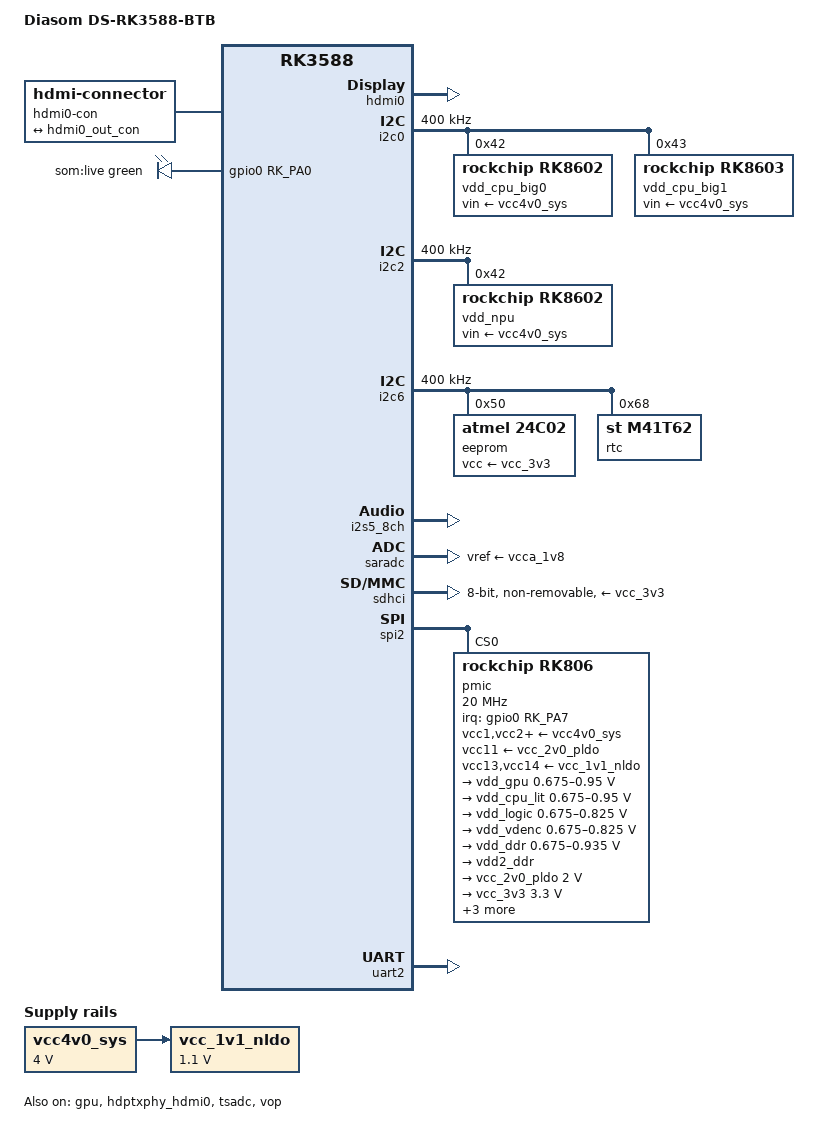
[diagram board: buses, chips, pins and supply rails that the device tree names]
/* SPDX-License-Identifier: GPL-2.0+ */
/* SPDX-FileCopyrightText: Alexander Shiyan <shc_work@mail.ru> */

/dts-v1/;

#include <arm64/rockchip/rk3588j.dtsi>
#include <dt-bindings/gpio/gpio.h>
#include <dt-bindings/leds/common.h>

#include "rk3588.dtsi"

/ {
	model = "Diasom DS-RK3588-BTB";
	compatible = "diasom,ds-rk3588-btb",
		     "rockchip,rk3588";
	chassis-type = "embedded";

	chosen: chosen {
		stdout-path = "serial2:1500000n8";

		environment-emmc {
			compatible = "barebox,environment";
			device-path = &sdhci, "partname:env";
			status = "disabled";
		};
	};

	aliases {
		mmc0 = &sdhci;
	};

	hdmi0-con {
		/* RK628 */
		compatible = "hdmi-connector";
		type = "a";

		port {
			hdmi0_con_in: endpoint {
				remote-endpoint = <&hdmi0_out_con>;
			};
		};
	};

	/* 6.14+ */
	hdptxphy1_grf: syscon@fd5e4000 {
		compatible = "rockchip,rk3588-hdptxphy-grf", "syscon";
		reg = <0x0 0xfd5e4000 0x0 0x100>;
	};

	/* 6.14+ */
	hdptxphy1: phy@fed70000 {
		compatible = "rockchip,rk3588-hdptx-phy";
		reg = <0x0 0xfed70000 0x0 0x2000>;
		clocks = <&cru CLK_USB2PHY_HDPTXRXPHY_REF>, <&cru PCLK_HDPTX1>;
		clock-names = "ref", "apb";
		#phy-cells = <0>;
		resets = <&cru SRST_HDPTX1>, <&cru SRST_P_HDPTX1>,
			 <&cru SRST_HDPTX1_INIT>, <&cru SRST_HDPTX1_CMN>,
			 <&cru SRST_HDPTX1_LANE>, <&cru SRST_HDPTX1_ROPLL>,
			 <&cru SRST_HDPTX1_LCPLL>;
		reset-names = "phy", "apb", "init", "cmn", "lane", "ropll",
			      "lcpll";
		rockchip,grf = <&hdptxphy1_grf>;
		status = "disabled";
	};

	/* 6.14+ */
	hdmi1: hdmi@fdea0000 {
		compatible = "rockchip,rk3588-dw-hdmi-qp";
		reg = <0x0 0xfdea0000 0x0 0x20000>;
		clocks = <&cru PCLK_HDMITX1>,
			 <&cru CLK_HDMITX1_EARC>,
			 <&cru CLK_HDMITX1_REF>,
			 <&cru MCLK_I2S6_8CH_TX>,
			 <&cru CLK_HDMIHDP1>,
			 <&cru HCLK_VO1>;
		clock-names = "pclk", "earc", "ref", "aud", "hdp", "hclk_vo1";
		interrupts = <GIC_SPI 173 IRQ_TYPE_LEVEL_HIGH 0>,
			     <GIC_SPI 174 IRQ_TYPE_LEVEL_HIGH 0>,
			     <GIC_SPI 175 IRQ_TYPE_LEVEL_HIGH 0>,
			     <GIC_SPI 176 IRQ_TYPE_LEVEL_HIGH 0>,
			     <GIC_SPI 361 IRQ_TYPE_LEVEL_HIGH 0>;
		interrupt-names = "avp", "cec", "earc", "main", "hpd";
		phys = <&hdptxphy1>;
		pinctrl-names = "default";
		pinctrl-0 = <&hdmim2_tx1_cec &hdmim0_tx1_hpd
			     &hdmim1_tx1_scl &hdmim1_tx1_sda>;
		power-domains = <&power RK3588_PD_VO1>;
		resets = <&cru SRST_HDMITX1_REF>, <&cru SRST_HDMIHDP1>;
		reset-names = "ref", "hdp";
		rockchip,grf = <&sys_grf>;
		rockchip,vo-grf = <&vo1_grf>;
		status = "disabled";

		ports {
			#address-cells = <1>;
			#size-cells = <0>;

			hdmi1_in: port@0 {
				reg = <0>;
			};

			hdmi1_out: port@1 {
				reg = <1>;
			};
		};
	};

	leds: leds {
		compatible = "gpio-leds";
		pinctrl-names = "default";
		pinctrl-0 = <&leds_som_pins>;

		led-live {
			label = "som:live";
			gpios = <&gpio0 RK_PA0 GPIO_ACTIVE_HIGH>;
			function = LED_FUNCTION_HEARTBEAT;
			color = <LED_COLOR_ID_GREEN>;
			linux,default-trigger = LED_FUNCTION_HEARTBEAT;
			default-state = "off";
			panic-indicator;
		};
	};

	/* BTB crashed with DABT at 0x3fc000200 & 0x3fff00000 */
	reserved-memory {
		#address-cells = <2>;
		#size-cells = <2>;
		ranges;

		broken@3fc000000 {
			reg = <0x3 0xfc000000 0x0 0x500000>;
			no-map;
		};

		broken@3fff00000 {
			reg = <0x3 0xfff00000 0x0 0x100000>;
			no-map;
		};
	};

	vcc_1v1_nldo: vcc1v1-nldo-regulator {
		compatible = "regulator-fixed";
		regulator-name = "vcc_1v1_nldo";
		regulator-always-on;
		regulator-boot-on;
		regulator-min-microvolt = <1100000>;
		regulator-max-microvolt = <1100000>;
		vin-supply = <&vcc4v0_sys>;
	};

	vcc4v0_sys: vcc4v0-sys-regulator {
		compatible = "regulator-fixed";
		regulator-name = "4v0_sys";
		regulator-always-on;
		regulator-boot-on;
		regulator-min-microvolt = <4000000>;
		regulator-max-microvolt = <4000000>;
	};
};

/delete-node/ &xin32k;

&cpu_b0 {
	cpu-supply = <&vdd_cpu_big0>;
};

&cpu_b1 {
	cpu-supply = <&vdd_cpu_big0>;
};

&cpu_b2 {
	cpu-supply = <&vdd_cpu_big1>;
};

&cpu_b3 {
	cpu-supply = <&vdd_cpu_big1>;
};

&cpu_l0 {
	cpu-supply = <&vdd_cpu_lit>;
};

&cpu_l1 {
	cpu-supply = <&vdd_cpu_lit>;
};

&cpu_l2 {
	cpu-supply = <&vdd_cpu_lit>;
};

&cpu_l3 {
	cpu-supply = <&vdd_cpu_lit>;
};

&gpu {
	mali-supply = <&vdd_gpu>;
	sram-supply = <&vdd_gpu>;
};

&gpu {
	status = "okay";
};

&hdmi0 {
	/* CEC is not used here */
	pinctrl-0 = <&hdmim0_tx0_hpd &hdmim0_tx0_scl &hdmim0_tx0_sda>;
	status = "okay";
};

&hdmi0_in {
	hdmi0_in_vp0: endpoint {
		remote-endpoint = <&vp0_out_hdmi0>;
	};
};

&hdmi0_out {
	hdmi0_out_con: endpoint {
		remote-endpoint = <&hdmi0_con_in>;
	};
};

&hdptxphy_hdmi0 {
	status = "okay";
};

&i2c0 {
	pinctrl-0 = <&i2c0m2_xfer>;
	clock-frequency = <400000>;
	status = "okay";

	vdd_cpu_big0: regulator@42 {
		compatible = "rockchip,rk8602";
		reg = <0x42>;
		fcs,suspend-voltage-selector = <1>;
		regulator-name = "vdd_cpu_big0";
		regulator-boot-on;
		regulator-min-microvolt = <675000>;
		regulator-max-microvolt = <1050000>;
		regulator-ramp-delay = <2300>;
		vin-supply = <&vcc4v0_sys>;

		regulator-state-mem {
			regulator-off-in-suspend;
		};
	};

	vdd_cpu_big1: regulator@43 {
		compatible = "rockchip,rk8603", "rockchip,rk8602";
		reg = <0x43>;
		fcs,suspend-voltage-selector = <1>;
		regulator-name = "vdd_cpu_big1";
		regulator-boot-on;
		regulator-min-microvolt = <675000>;
		regulator-max-microvolt = <1050000>;
		regulator-ramp-delay = <2300>;
		vin-supply = <&vcc4v0_sys>;

		regulator-state-mem {
			regulator-off-in-suspend;
		};
	};
};

&i2c2 {
	clock-frequency = <400000>;
	status = "okay";

	vdd_npu: regulator@42 {
		compatible = "rockchip,rk8602";
		reg = <0x42>;
		fcs,suspend-voltage-selector = <1>;
		regulator-name = "vdd_npu";
		regulator-min-microvolt = <675000>;
		regulator-max-microvolt = <950000>;
		regulator-ramp-delay = <2300>;
		vin-supply = <&vcc4v0_sys>;

		regulator-state-mem {
			regulator-off-in-suspend;
		};
	};
};

&i2c6 {
	clock-frequency = <400000>;
	status = "okay";

	/* 24aa02e48 */
	eeprom@50 {
		compatible = "atmel,24c02";
		reg = <0x50>;
		pagesize = <8>;
		vcc-supply = <&vcc_3v3>;
		#address-cells = <1>;
		#size-cells = <1>;

		mac0: mac-address@fa {
			reg = <0xfa 0x06>;
			read-only;
		};
	};

	brg: hdmi@51 {
		pinctrl-names = "default";
		pinctrl-0 = <&brg_pins>;
		compatible = "rockchip,rk628";
		reg = <0x51>;
		enable-gpios = <&gpio0 RK_PB0 GPIO_ACTIVE_HIGH>;
		rk628-hdmi-in;
		status = "disabled";
	};

	rtc@68 {
		pinctrl-names = "default";
		pinctrl-0 = <&clk32k_in>;
		/* Disable interrupt due cross with sdmmc_det on EVB */
//		pinctrl-0 = <&clk32k_in &rtc_pins>;
		compatible = "st,m41t62";
		reg = <0x68>;
//		interrupt-parent = <&gpio0>;
//		interrupts = <RK_PA4 IRQ_TYPE_LEVEL_LOW>;
//		wakeup-source;

		clock {
			compatible = "fixed-clock";
			clock-accuracy = <2000>;
			clock-frequency = <32768>;
			clock-output-names = "xin32k";
			#clock-cells = <0>;
		};
	};
};

&i2s5_8ch {
	/* HDMI0 Sound */
	status = "okay";
};

&saradc {
	vref-supply = <&vcca_1v8>;
	status = "okay";
};

&sdhci {
	bus-width = <8>;
	cap-mmc-hw-reset;
	mmc-hs400-1_8v;
	mmc-hs400-enhanced-strobe;
	non-removable;
	no-sd;
	no-sdio;
	vmmc-supply = <&vcc_3v3>;
	vqmmc-supply = <&vcc_1v8>;
	status = "okay";
};

&spi2 {
	assigned-clocks = <&cru CLK_SPI2>;
	assigned-clock-rates = <200000000>;
	pinctrl-0 = <&spi2m2_cs0 &spi2m2_pins>;
	num-cs = <1>;
	status = "okay";

	pmic@0 {
		compatible = "rockchip,rk806";
		reg = <0x0>;
		interrupt-parent = <&gpio0>;
		interrupts = <RK_PA7 IRQ_TYPE_LEVEL_LOW>;
		pinctrl-names = "default";
		pinctrl-0 = <&pmic_pins &rk806_dvs1_null
			     &rk806_dvs2_null &rk806_dvs3_null>;
		spi-max-frequency = <20000000>;
		system-power-controller;

		vcc1-supply = <&vcc4v0_sys>;
		vcc2-supply = <&vcc4v0_sys>;
		vcc3-supply = <&vcc4v0_sys>;
		vcc4-supply = <&vcc4v0_sys>;
		vcc5-supply = <&vcc4v0_sys>;
		vcc6-supply = <&vcc4v0_sys>;
		vcc7-supply = <&vcc4v0_sys>;
		vcc8-supply = <&vcc4v0_sys>;
		vcc9-supply = <&vcc4v0_sys>;
		vcc10-supply = <&vcc4v0_sys>;
		vcc11-supply = <&vcc_2v0_pldo>;
		vcc12-supply = <&vcc4v0_sys>;
		vcc13-supply = <&vcc_1v1_nldo>;
		vcc14-supply = <&vcc_1v1_nldo>;
		vcca-supply = <&vcc4v0_sys>;

		gpio-controller;
		#gpio-cells = <2>;

		rk806_dvs1_null: dvs1-null-pins {
			pins = "gpio_pwrctrl1";
			function = "pin_fun0";
		};

		rk806_dvs2_null: dvs2-null-pins {
			pins = "gpio_pwrctrl2";
			function = "pin_fun0";
		};

		rk806_dvs3_null: dvs3-null-pins {
			pins = "gpio_pwrctrl3";
			function = "pin_fun0";
		};

		regulators {
			vdd_gpu: dcdc-reg1 {
				regulator-name = "vdd_gpu";
				regulator-min-microvolt = <675000>;
				regulator-max-microvolt = <950000>;
				regulator-enable-ramp-delay = <400>;
				regulator-ramp-delay = <12500>;

				regulator-state-mem {
					regulator-off-in-suspend;
				};
			};

			vdd_cpu_lit: dcdc-reg2 {
				regulator-name = "vdd_cpu_lit";
				regulator-min-microvolt = <675000>;
				regulator-max-microvolt = <950000>;
				regulator-ramp-delay = <12500>;

				regulator-state-mem {
					regulator-off-in-suspend;
				};
			};

			dcdc-reg3 {
				regulator-name = "vdd_logic";
				regulator-always-on;
				regulator-boot-on;
				regulator-min-microvolt = <675000>;
				regulator-max-microvolt = <825000>;
				regulator-ramp-delay = <12500>;

				regulator-state-mem {
					regulator-off-in-suspend;
					regulator-suspend-microvolt = <750000>;
				};
			};

			dcdc-reg4 {
				regulator-name = "vdd_vdenc";
				regulator-always-on;
				regulator-boot-on;
				regulator-min-microvolt = <675000>;
				regulator-max-microvolt = <825000>;
				regulator-ramp-delay = <12500>;

				regulator-state-mem {
					regulator-off-in-suspend;
				};
			};

			dcdc-reg5 {
				regulator-name = "vdd_ddr";
				regulator-always-on;
				regulator-boot-on;
				regulator-min-microvolt = <675000>;
				regulator-max-microvolt = <935000>;
				regulator-ramp-delay = <12500>;

				regulator-state-mem {
					regulator-off-in-suspend;
					regulator-suspend-microvolt = <850000>;
				};
			};

			dcdc-reg6 {
				regulator-name = "vdd2_ddr";
				regulator-always-on;
				regulator-boot-on;

				regulator-state-mem {
					regulator-on-in-suspend;
				};
			};

			vcc_2v0_pldo: dcdc-reg7 {
				regulator-name = "vdd_2v0_pldo";
				regulator-min-microvolt = <2000000>;
				regulator-max-microvolt = <2000000>;
				regulator-ramp-delay = <12500>;

				regulator-state-mem {
					regulator-on-in-suspend;
					regulator-suspend-microvolt = <2000000>;
				};
			};

			vcc_3v3: dcdc-reg8 {
				regulator-name = "vcc_3v3";
				regulator-always-on;
				regulator-boot-on;
				regulator-min-microvolt = <3300000>;
				regulator-max-microvolt = <3300000>;

				regulator-state-mem {
					regulator-on-in-suspend;
					regulator-suspend-microvolt = <3300000>;
				};
			};

			dcdc-reg9 {
				regulator-name = "vddq_ddr";
				regulator-always-on;
				regulator-boot-on;

				regulator-state-mem {
					regulator-off-in-suspend;
				};
			};

			vcc_1v8: dcdc-reg10 {
				regulator-name = "vcc_1v8";
				regulator-always-on;
				regulator-boot-on;
				regulator-min-microvolt = <1800000>;
				regulator-max-microvolt = <1800000>;

				regulator-state-mem {
					regulator-on-in-suspend;
					regulator-suspend-microvolt = <1800000>;
				};
			};

			vcca_1v8: pldo-reg1 {
				regulator-name = "vcca_1v8";
				regulator-always-on;
				regulator-boot-on;
				regulator-min-microvolt = <1800000>;
				regulator-max-microvolt = <1800000>;

				regulator-state-mem {
					regulator-off-in-suspend;
				};
			};

			vcca_1v8_image: pldo-reg2 {
				regulator-name = "vcca_1v8_image";
				regulator-always-on;
				regulator-boot-on;
				regulator-min-microvolt = <1800000>;
				regulator-max-microvolt = <1800000>;

				regulator-state-mem {
					regulator-off-in-suspend;
					regulator-suspend-microvolt = <1800000>;
				};
			};

			vcca_1v2_image: pldo-reg3 {
				regulator-name = "vcca_1v2_image";
				regulator-always-on;
				regulator-boot-on;
				regulator-min-microvolt = <1200000>;
				regulator-max-microvolt = <1200000>;

				regulator-state-mem {
					regulator-off-in-suspend;
				};
			};

			vcca_3v3: pldo-reg4 {
				regulator-name = "vcca_3v3";
				regulator-always-on;
				regulator-boot-on;
				regulator-min-microvolt = <3300000>;
				regulator-max-microvolt = <3300000>;
				regulator-ramp-delay = <12500>;

				regulator-state-mem {
					regulator-off-in-suspend;
				};
			};

			vccio_sd: pldo-reg5 {
				regulator-name = "vccio_sd";
				regulator-always-on;
				regulator-boot-on;
				regulator-min-microvolt = <1800000>;
				regulator-max-microvolt = <3300000>;
				regulator-ramp-delay = <12500>;

				regulator-state-mem {
					regulator-off-in-suspend;
				};
			};

			pldo-reg6 {
				regulator-name = "vcca_1v8_pldo6";
				regulator-always-on;
				regulator-boot-on;
				regulator-min-microvolt = <1800000>;
				regulator-max-microvolt = <1800000>;

				regulator-state-mem {
					regulator-on-in-suspend;
					regulator-suspend-microvolt = <1800000>;
				};
			};

			vdda_0v75_pmu: nldo-reg1 {
				regulator-name = "vdda_0v75_pmu";
				regulator-always-on;
				regulator-boot-on;
				regulator-min-microvolt = <750000>;
				regulator-max-microvolt = <750000>;

				regulator-state-mem {
					regulator-on-in-suspend;
					regulator-suspend-microvolt = <750000>;
				};
			};

			vdda_ddr_pll: nldo-reg2 {
				regulator-name = "vdda_ddr_pll";
				regulator-always-on;
				regulator-boot-on;
				regulator-min-microvolt = <675000>;
				regulator-max-microvolt = <892500>;

				regulator-state-mem {
					regulator-off-in-suspend;
					regulator-suspend-microvolt = <850000>;
				};
			};

			vdda_0v75_image: nldo-reg3 {
				regulator-name = "vdda_0v75_image";
				regulator-always-on;
				regulator-boot-on;
				regulator-min-microvolt = <750000>;
				regulator-max-microvolt = <750000>;

				regulator-state-mem {
					regulator-off-in-suspend;
				};
			};

			vdda_0v85: nldo-reg4 {
				regulator-name = "vdda_0v85";
				regulator-always-on;
				regulator-boot-on;
				regulator-min-microvolt = <850000>;
				regulator-max-microvolt = <850000>;

				regulator-state-mem {
					regulator-off-in-suspend;
				};
			};

			vdda_0v75: nldo-reg5 {
				regulator-name = "vdda_0v75";
				regulator-always-on;
				regulator-boot-on;
				regulator-min-microvolt = <750000>;
				regulator-max-microvolt = <750000>;

				regulator-state-mem {
					regulator-off-in-suspend;
				};
			};
		};
	};
};

&tsadc {
	/* Fix pinctrl names until it fixed in mainline */
	pinctrl-names = "default", "sleep";
	pinctrl-0 = <&tsadc_shut_org>;
	pinctrl-1 = <&tsadc_gpio_func>;
	rockchip,hw-tshut-mode = <1>;
	status = "okay";
};

&uart2 {
	pinctrl-0 = <&uart2m0_xfer>;
	status = "okay";
};

&vop {
	status = "okay";
};

&vop_mmu {
	status = "okay";
};

&vp0 {
	vp0_out_hdmi0: endpoint@ROCKCHIP_VOP2_EP_HDMI0 {
		reg = <ROCKCHIP_VOP2_EP_HDMI0>;
		remote-endpoint = <&hdmi0_in_vp0>;
	};
};

&pinctrl {
	brg {
		brg_pins: brg-pins {
			rockchip,pins =
				<0 RK_PB0 RK_FUNC_GPIO &pcfg_pull_none>;	/* LVDS_BRG_EN */
		};
	};

	leds {
		leds_som_pins: leds-som-pins {
			rockchip,pins =
				<0 RK_PA0 RK_FUNC_GPIO &pcfg_pull_none>;	/* VD2 */
		};
	};

	rtc {
		rtc_pins: rtc-pins {
			rockchip,pins =
				<0 RK_PA4 RK_FUNC_GPIO &pcfg_pull_none>;	/* RTC_INT */
		};
	};
};
